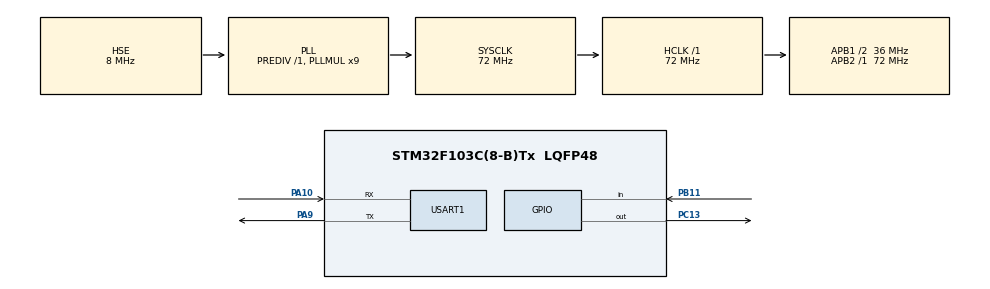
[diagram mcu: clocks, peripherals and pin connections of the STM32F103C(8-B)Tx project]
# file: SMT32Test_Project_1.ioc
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FREERTOS.INCLUDE_eTaskGetState=1
FREERTOS.INCLUDE_uxTaskPriorityGet=1
FREERTOS.INCLUDE_vTaskCleanUpResources=1
FREERTOS.INCLUDE_vTaskDelay=1
FREERTOS.INCLUDE_vTaskDelayUntil=1
FREERTOS.INCLUDE_vTaskDelete=1
FREERTOS.INCLUDE_vTaskPrioritySet=1
FREERTOS.INCLUDE_vTaskSuspend=1
FREERTOS.INCLUDE_xQueueGetMutexHolder=1
FREERTOS.INCLUDE_xTaskGetSchedulerState=1
FREERTOS.Tasks01=defaultTask,0,128,StartDefaultTask,As weak,NULL,Dynamic,NULL,NULL
FREERTOS.configCHECK_FOR_STACK_OVERFLOW=0
FREERTOS.configGENERATE_RUN_TIME_STATS=0
FREERTOS.configIDLE_SHOULD_YIELD=1
FREERTOS.configLIBRARY_LOWEST_INTERRUPT_PRIORITY=15
FREERTOS.configLIBRARY_MAX_SYSCALL_INTERRUPT_PRIORITY=5
FREERTOS.configMAX_PRIORITIES=7
FREERTOS.configMAX_TASK_NAME_LEN=16
FREERTOS.configMINIMAL_STACK_SIZE=128
FREERTOS.configTICK_RATE_HZ=1000
FREERTOS.configTOTAL_HEAP_SIZE=8192
FREERTOS.configUSE_COUNTING_SEMAPHORES=1
FREERTOS.configUSE_MUTEXES=1
FREERTOS.configUSE_NEWLIB_REENTRANT=0
FREERTOS.configUSE_PREEMPTION=1
FREERTOS.configUSE_RECURSIVE_MUTEXES=1
FREERTOS.configUSE_STATS_FORMATTING_FUNCTIONS=0
FREERTOS.configUSE_TIMERS=1
FREERTOS.configUSE_TRACE_FACILITY=1
Mcu.Family=STM32F1
Mcu.Name=STM32F103C(8-B)Tx
Mcu.Package=LQFP48
NVIC.PriorityGroup=NVIC_PRIORITYGROUP_4
NVIC.TIM2_IRQn=true\:0\:0\:false\:false\:true\:false\:false\:true\:true
NVIC.TimeBase=TIM2_IRQn
NVIC.TimeBaseIP=TIM2
NVIC.USART1_IRQn=true\:5\:0\:false\:false\:true\:true\:false\:false\:true
PA10.Mode=Asynchronous
PA10.Signal=USART1_RX
PA9.Mode=Asynchronous
PA9.Signal=USART1_TX
PB11.Signal=GPIO_Input
PC13-TAMPER-RTC.Signal=GPIO_Output
PC14-OSC32_IN.Mode=LSE-External-Oscillator
PC14-OSC32_IN.Signal=RCC_OSC32_IN
PC15-OSC32_OUT.Mode=LSE-External-Oscillator
PC15-OSC32_OUT.Signal=RCC_OSC32_OUT
PD0-OSC_IN.Mode=HSE-External-Oscillator
PD0-OSC_IN.Signal=RCC_OSC_IN
PD1-OSC_OUT.Mode=HSE-External-Oscillator
PD1-OSC_OUT.Signal=RCC_OSC_OUT
ProjectManager.HeapSize=0x200
ProjectManager.StackSize=0x400
ProjectManager.TargetToolchain=CMake
RCC.AHBFreq_Value=72000000
RCC.APB1CLKDivider=RCC_HCLK_DIV2
RCC.APB1Freq_Value=36000000
RCC.APB1TimFreq_Value=72000000
RCC.APB2Freq_Value=72000000
RCC.APB2TimFreq_Value=72000000
RCC.HCLKFreq_Value=72000000
RCC.PLLMUL=RCC_PLL_MUL9
RCC.PLLSourceVirtual=RCC_PLLSOURCE_HSE
RCC.SYSCLKFreq_VALUE=72000000
RCC.SYSCLKSource=RCC_SYSCLKSOURCE_PLLCLK
RCC.USBFreq_Value=72000000
USART1.VirtualMode=VM_ASYNC
VP_FREERTOS_VS_CMSIS_V1.Mode=CMSIS_V1
VP_SYS_VS_ND.Mode=No_Debug
VP_SYS_VS_tim2.Mode=TIM2
board=custom

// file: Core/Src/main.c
/* USER CODE BEGIN Header */
/**
  ******************************************************************************
  * @file           : main.c
  * @brief          : Main program body
  ******************************************************************************
  * @attention
  *
  * Copyright (c) 2026 STMicroelectronics.
  * All rights reserved.
  *
  * This software is licensed under terms that can be found in the LICENSE file
  * in the root directory of this software component.
  * If no LICENSE file comes with this software, it is provided AS-IS.
  *
  ******************************************************************************
  */
/* USER CODE END Header */
#include "main.h"
#include "cmsis_os.h"
#include "gpio.h"

/* USER CODE BEGIN Includes */
#include "usart.h"
#include "./BSP/LED/led.h"
#include "./BSP/DHT22/dht22.h"
#include "./SYSTEM/delay/delay.h"
#include "./SYSTEM/usart/usart.h"
#include "FreeRTOS.h"
#include "task.h"
/* USER CODE END Includes */

void SystemClock_Config(void);
void MX_FREERTOS_Init(void);

int main(void)
{

  /* MCU Configuration--------------------------------------------------------*/

  /* Reset of all peripherals, Initializes the Flash interface and the Systick. */
  HAL_Init();

  /* Configure the system clock */
  SystemClock_Config();

  /* USER CODE BEGIN SysInit */
  delay_init(72);                                         /* 延时初始化 */
  /* USER CODE END SysInit */

  /* Initialize all configured peripherals */
  MX_GPIO_Init();
  /* USER CODE BEGIN 2 */
  MX_USART1_UART_Init();                                  /* CubeMX 串口初始化 (PA9/PA10, 115200) */
  led_init();                                             /* 初始化LED */
  dht22_init();                                           /* 初始化DHT22 (PB11) */

  printf("\r\n=== STM32F103 FreeRTOS + DHT22 Demo ===\r\n");
  printf("SystemCoreClock: %lu Hz\r\n", SystemCoreClock);
  /* USER CODE END 2 */

  /* Call init function for freertos objects (in cmsis_os2.c) */
  MX_FREERTOS_Init();

  /* Start scheduler */
  osKernelStart();

  /* We should never get here as control is now taken by the scheduler */

  /* Infinite loop */
  while (1)
  {

  }
}

void SystemClock_Config(void)
{
  RCC_OscInitTypeDef RCC_OscInitStruct = {0};
  RCC_ClkInitTypeDef RCC_ClkInitStruct = {0};

  /** Initializes the RCC Oscillators according to the specified parameters
  * in the RCC_OscInitTypeDef structure.
  */
  RCC_OscInitStruct.OscillatorType = RCC_OSCILLATORTYPE_HSE;
  RCC_OscInitStruct.HSEState = RCC_HSE_ON;
  RCC_OscInitStruct.HSEPredivValue = RCC_HSE_PREDIV_DIV1;
  RCC_OscInitStruct.HSIState = RCC_HSI_ON;
  RCC_OscInitStruct.PLL.PLLState = RCC_PLL_ON;
  RCC_OscInitStruct.PLL.PLLSource = RCC_PLLSOURCE_HSE;
  RCC_OscInitStruct.PLL.PLLMUL = RCC_PLL_MUL9;
  if (HAL_RCC_OscConfig(&RCC_OscInitStruct) != HAL_OK)
  {
    Error_Handler();
  }

  /** Initializes the CPU, AHB and APB buses clocks
  */
  RCC_ClkInitStruct.ClockType = RCC_CLOCKTYPE_HCLK|RCC_CLOCKTYPE_SYSCLK
                              |RCC_CLOCKTYPE_PCLK1|RCC_CLOCKTYPE_PCLK2;
  RCC_ClkInitStruct.SYSCLKSource = RCC_SYSCLKSOURCE_PLLCLK;
  RCC_ClkInitStruct.AHBCLKDivider = RCC_SYSCLK_DIV1;
  RCC_ClkInitStruct.APB1CLKDivider = RCC_HCLK_DIV2;
  RCC_ClkInitStruct.APB2CLKDivider = RCC_HCLK_DIV1;

  if (HAL_RCC_ClockConfig(&RCC_ClkInitStruct, FLASH_LATENCY_2) != HAL_OK)
  {
    Error_Handler();
  }
}

/* USER CODE BEGIN 4 */

/**
  * @brief   LED 闪烁任务 (PC13, 低电平点亮)
  */
void LED_Task(void *pvParameters)
{
    (void)pvParameters;
    while (1)
    {
        HAL_GPIO_WritePin(GPIOC, GPIO_PIN_13, GPIO_PIN_RESET);   /* LED ON */
        vTaskDelay(pdMS_TO_TICKS(500));
        HAL_GPIO_WritePin(GPIOC, GPIO_PIN_13, GPIO_PIN_SET);     /* LED OFF */
        vTaskDelay(pdMS_TO_TICKS(500));
    }
}

/* USER CODE END 4 */

void HAL_TIM_PeriodElapsedCallback(TIM_HandleTypeDef *htim)
{
  if (htim->Instance == TIM2)
  {
    HAL_IncTick();
  }
}

void Error_Handler(void)
{
  __disable_irq();
  while (1)
  {
  }
}

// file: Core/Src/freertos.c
/* USER CODE BEGIN Header */
/**
  ******************************************************************************
  * File Name          : freertos.c
  * Description        : Code for freertos applications
  ******************************************************************************
  * @attention
  *
  * Copyright (c) 2026 STMicroelectronics.
  * All rights reserved.
  *
  * This software is licensed under terms that can be found in the LICENSE file
  * in the root directory of this software component.
  * If no LICENSE file comes with this software, it is provided AS-IS.
  *
  ******************************************************************************
  */
/* USER CODE END Header */

#include "FreeRTOS.h"
#include "task.h"
#include "main.h"
#include "cmsis_os.h"

osThreadId defaultTaskHandle;

void StartDefaultTask(void const * argument);

void MX_FREERTOS_Init(void); /* (MISRA C 2004 rule 8.1) */

/* GetIdleTaskMemory prototype (linked to static allocation support) */
void vApplicationGetIdleTaskMemory( StaticTask_t **ppxIdleTaskTCBBuffer, StackType_t **ppxIdleTaskStackBuffer, uint32_t *pulIdleTaskStackSize );

/* GetTimerTaskMemory prototype (linked to static allocation support) */
void vApplicationGetTimerTaskMemory( StaticTask_t **ppxTimerTaskTCBBuffer, StackType_t **ppxTimerTaskStackBuffer, uint32_t *pulTimerTaskStackSize );

/* USER CODE BEGIN GET_IDLE_TASK_MEMORY */
static StaticTask_t xIdleTaskTCBBuffer;
static StackType_t xIdleStack[configMINIMAL_STACK_SIZE];

void vApplicationGetIdleTaskMemory( StaticTask_t **ppxIdleTaskTCBBuffer, StackType_t **ppxIdleTaskStackBuffer, uint32_t *pulIdleTaskStackSize )
{
  *ppxIdleTaskTCBBuffer = &xIdleTaskTCBBuffer;
  *ppxIdleTaskStackBuffer = &xIdleStack[0];
  *pulIdleTaskStackSize = configMINIMAL_STACK_SIZE;
  /* place for user code */
}
/* USER CODE END GET_IDLE_TASK_MEMORY */

/* USER CODE BEGIN GET_TIMER_TASK_MEMORY */
static StaticTask_t xTimerTaskTCBBuffer;
static StackType_t xTimerStack[configTIMER_TASK_STACK_DEPTH];

void vApplicationGetTimerTaskMemory( StaticTask_t **ppxTimerTaskTCBBuffer, StackType_t **ppxTimerTaskStackBuffer, uint32_t *pulTimerTaskStackSize )
{
  *ppxTimerTaskTCBBuffer = &xTimerTaskTCBBuffer;
  *ppxTimerTaskStackBuffer = &xTimerStack[0];
  *pulTimerTaskStackSize = configTIMER_TASK_STACK_DEPTH;
  /* place for user code */
}
/* USER CODE END GET_TIMER_TASK_MEMORY */

void MX_FREERTOS_Init(void) {

  /* Create the thread(s) */
  /* definition and creation of defaultTask */
  osThreadDef(defaultTask, StartDefaultTask, osPriorityNormal, 0, 128);
  defaultTaskHandle = osThreadCreate(osThread(defaultTask), NULL);

  /* USER CODE BEGIN RTOS_THREADS */
  /* 用户任务: 使用原生 FreeRTOS API */
  xTaskCreate(LED_Task,   "LED_Task",   128, NULL, 1, NULL);
  xTaskCreate(DHT22_Task, "DHT22_Task", 512, NULL, 2, NULL);
  /* USER CODE END RTOS_THREADS */

}

__weak void StartDefaultTask(void const * argument)
{
  for(;;)
  {
    osDelay(1);
  }
}
